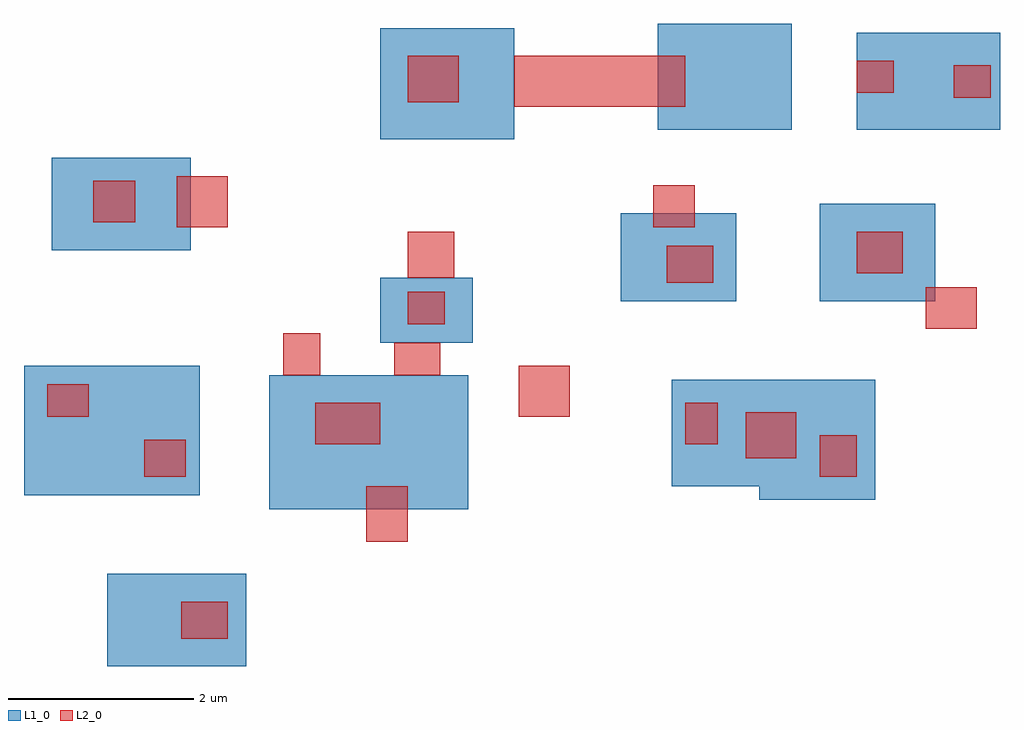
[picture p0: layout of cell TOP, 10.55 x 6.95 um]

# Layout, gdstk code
import gdstk
lib = gdstk.Library(unit=1e-6, precision=1e-09)
def R(c, l, rs):  # rectangles x0, y0, x1, y1
    for r in rs: c.add(gdstk.rectangle(r[:2], r[2:], *l))
L1_0 = (1, 0)
L2_0 = (2, 0)

top = lib.new_cell('TOP')
R(top, L1_0, [(0,0,1.5,1), (1.75,1.7,3.9,3.15), (7.05,1.8,8.3,3.1), (-0.9,1.85,1,3.25), (6.1,1.95,7.3,3.1), (2.95,3.5,3.95,4.2), (5.55,3.95,6.8,4.9), (7.7,3.95,8.95,5), (-0.6,4.5,0.9,5.5), (2.95,5.7,4.4,6.9), (5.95,5.8,7.4,6.95), (8.1,5.8,9.65,6.85)])
R(top, L2_0, [(0.8,0.3,1.3,0.7), (2.8,1.35,3.25,1.95), (0.4,2.05,0.85,2.45), (7.7,2.05,8.1,2.5), (6.9,2.25,7.45,2.75), (2.25,2.4,2.95,2.85), (6.25,2.4,6.6,2.85), (-0.65,2.7,-0.2,3.05), (4.45,2.7,5,3.25), (1.9,3.15,2.3,3.6), (3.1,3.15,3.6,3.5), (8.85,3.65,9.4,4.1), (3.25,3.7,3.65,4.05), (6.05,4.15,6.55,4.55), (3.25,4.2,3.75,4.7), (8.1,4.25,8.6,4.7), (0.75,4.75,1.3,5.3), (5.9,4.75,6.35,5.2), (-0.15,4.8,0.3,5.25), (4.4,6.05,6.25,6.6), (3.25,6.1,3.8,6.6), (9.15,6.15,9.55,6.5), (8.1,6.2,8.5,6.55)])

lib.write_gds('TOP.gds')
